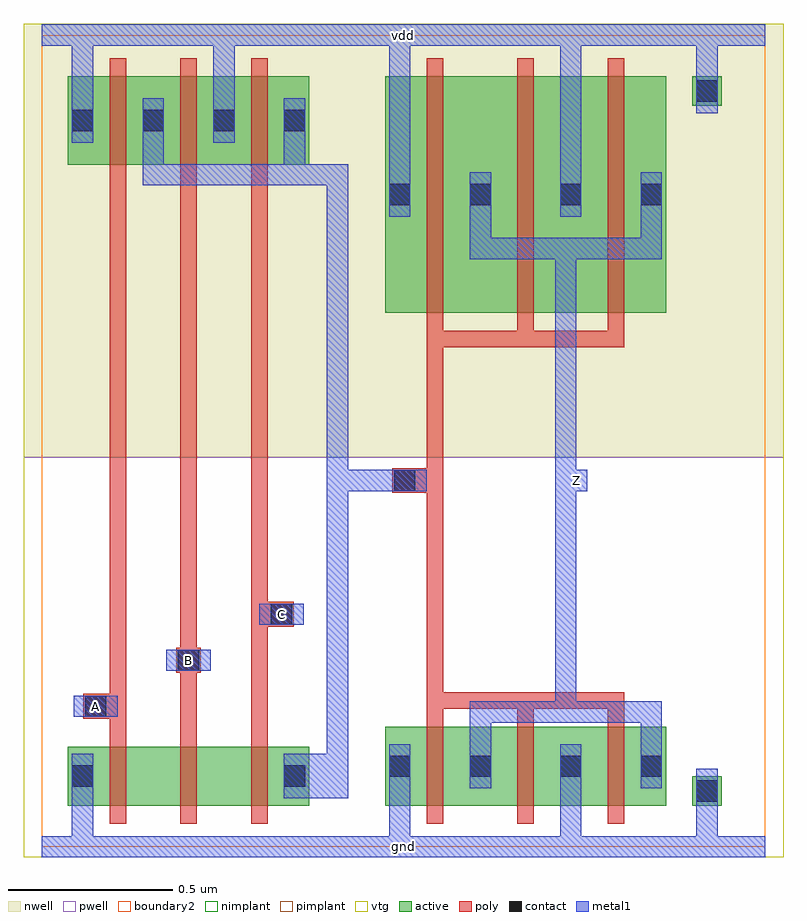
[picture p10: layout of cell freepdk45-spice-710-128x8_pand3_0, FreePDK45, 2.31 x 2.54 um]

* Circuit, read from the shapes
.subckt freepdk45-spice-710-128x8_pand3_0 A B C Z gnd vdd
M1 freepdk45-spice-710-128x8_pnand3_0_0/freepdk45-spice-710-128x8_nmos_m1_w0_180_sm1_dactive_3/D A gnd gnd nfet w=0.18u l=0.05u
M2 freepdk45-spice-710-128x8_pnand3_0_0/freepdk45-spice-710-128x8_nmos_m1_w0_180_sactive_dactive_4/D B freepdk45-spice-710-128x8_pnand3_0_0/freepdk45-spice-710-128x8_nmos_m1_w0_180_sm1_dactive_3/D gnd nfet w=0.18u l=0.05u
M3 freepdk45-spice-710-128x8_pdriver_4_1/A C freepdk45-spice-710-128x8_pnand3_0_0/freepdk45-spice-710-128x8_nmos_m1_w0_180_sactive_dactive_4/D gnd nfet w=0.18u l=0.05u
M4 Z freepdk45-spice-710-128x8_pdriver_4_1/A gnd gnd nfet w=0.24u l=0.05u m=3
M5 freepdk45-spice-710-128x8_pdriver_4_1/A A vdd vdd pfet w=0.27u l=0.05u
M6 vdd B freepdk45-spice-710-128x8_pdriver_4_1/A vdd pfet w=0.27u l=0.05u
M7 freepdk45-spice-710-128x8_pdriver_4_1/A C vdd vdd pfet w=0.27u l=0.05u
M8 Z freepdk45-spice-710-128x8_pdriver_4_1/A vdd vdd pfet w=0.72u l=0.05u m=3
.ends

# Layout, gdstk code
import gdstk
lib = gdstk.Library(unit=1e-6, precision=5e-10)
def R(c, l, rs):  # rectangles x0, y0, x1, y1
    for r in rs: c.add(gdstk.rectangle(r[:2], r[2:], *l))
def A(c, l, x, y, w, h, nx, ny, dx, dy):  # array of equal rectangles
    R(c, l, [(x+i*dx, y+j*dy, x+i*dx+w, y+j*dy+h) for i in range(nx) for j in range(ny)])
active = (1, 0)
pwell = (2, 0)
nwell = (3, 0)
nimplant = (4, 0)
pimplant = (5, 0)
vtg = (6, 0)
poly = (9, 0)
contact = (10, 0)
metal1 = (11, 0)
boundary2 = (239, 0)

freepdk45_spice_710_128x = lib.new_cell('freepdk45-spice-710-128x8_contact_11')
R(freepdk45_spice_710_128x, active, [(0,0.0225,0.09,0.1125)])
R(freepdk45_spice_710_128x, nwell, [(-0.055,-0.0325,0.145,0.1675)])
R(freepdk45_spice_710_128x, pimplant, [(0,0.0225,0.09,0.1125)])
R(freepdk45_spice_710_128x, contact, [(0.0125,0.035,0.0775,0.1)])
R(freepdk45_spice_710_128x, metal1, [(0.0125,0,0.0775,0.135)])
R(freepdk45_spice_710_128x, boundary2, [(-0.055,-0.0325,0.145,0.1675)])

c_freepdk45_spice_710_128x = lib.new_cell('freepdk45-spice-710-128x8_pmos_m1_w0_270_sm1_dm1')
R(c_freepdk45_spice_710_128x, active, [(0,0,0.305,0.27)])
R(c_freepdk45_spice_710_128x, nwell, [(-0.08,-0.08,0.385,0.35)])
R(c_freepdk45_spice_710_128x, pimplant, [(0,0,0.305,0.27)])
R(c_freepdk45_spice_710_128x, vtg, [(-0.08,-0.08,0.385,0.35)])
R(c_freepdk45_spice_710_128x, poly, [(0.1275,-0.055,0.1775,0.325), (0.1275,-0.055,0.1775,0.325)])
R(c_freepdk45_spice_710_128x, metal1, [(0.0125,0.0675,0.0775,0.2025), (0.2275,0.0675,0.2925,0.2025)])
R(c_freepdk45_spice_710_128x, boundary2, [(-0.08,-0.08,0.385,0.35)])
c_freepdk45_spice_710_128x.add(gdstk.Reference(freepdk45_spice_710_128x, (0,0.0675)))
c_freepdk45_spice_710_128x.add(gdstk.Reference(freepdk45_spice_710_128x, (0.215,0.0675)))
c_freepdk45_spice_710_128x.add(gdstk.Label('G', (0.1525,0.135), layer=9, texttype=0))
c_freepdk45_spice_710_128x.add(gdstk.Label('S', (0.045,0.135), layer=11, texttype=0))
c_freepdk45_spice_710_128x.add(gdstk.Label('D', (0.26,0.135), layer=11, texttype=0))

c_freepdk45_spice_710_128x_ = lib.new_cell('freepdk45-spice-710-128x8_contact_10')
R(c_freepdk45_spice_710_128x_, active, [(0,0.0225,0.09,0.1125)])
R(c_freepdk45_spice_710_128x_, pwell, [(-0.055,-0.0325,0.145,0.1675)])
R(c_freepdk45_spice_710_128x_, nimplant, [(0,0.0225,0.09,0.1125)])
R(c_freepdk45_spice_710_128x_, contact, [(0.0125,0.035,0.0775,0.1)])
R(c_freepdk45_spice_710_128x_, metal1, [(0.0125,0,0.0775,0.135)])
R(c_freepdk45_spice_710_128x_, boundary2, [(-0.055,-0.0325,0.145,0.1675)])

c_freepdk45_spice_710_128x__ = lib.new_cell('freepdk45-spice-710-128x8_nmos_m1_w0_180_sm1_dactive')
R(c_freepdk45_spice_710_128x__, active, [(0,0,0.305,0.18), (0.215,0.045,0.305,0.135)])
R(c_freepdk45_spice_710_128x__, pwell, [(-0.08,-0.08,0.385,0.26)])
R(c_freepdk45_spice_710_128x__, nimplant, [(0,0,0.305,0.18)])
R(c_freepdk45_spice_710_128x__, vtg, [(-0.08,-0.08,0.385,0.26)])
R(c_freepdk45_spice_710_128x__, poly, [(0.1275,-0.055,0.1775,0.235), (0.1275,-0.055,0.1775,0.235)])
R(c_freepdk45_spice_710_128x__, metal1, [(0.0125,0.0225,0.0775,0.1575)])
R(c_freepdk45_spice_710_128x__, boundary2, [(-0.08,-0.08,0.385,0.26)])
c_freepdk45_spice_710_128x__.add(gdstk.Reference(c_freepdk45_spice_710_128x_, (0,0.0225)))
c_freepdk45_spice_710_128x__.add(gdstk.Label('G', (0.1525,0.09), layer=9, texttype=0))
c_freepdk45_spice_710_128x__.add(gdstk.Label('S', (0.045,0.09), layer=11, texttype=0))
c_freepdk45_spice_710_128x__.add(gdstk.Label('D', (0.26,0.09), layer=1, texttype=0))

c_freepdk45_spice_710_128x___ = lib.new_cell('freepdk45-spice-710-128x8_nmos_m1_w0_180_sactive_dactive')
R(c_freepdk45_spice_710_128x___, active, [(0,0,0.305,0.18), (0,0.045,0.09,0.135), (0.215,0.045,0.305,0.135)])
R(c_freepdk45_spice_710_128x___, pwell, [(-0.08,-0.08,0.385,0.26)])
R(c_freepdk45_spice_710_128x___, nimplant, [(0,0,0.305,0.18)])
R(c_freepdk45_spice_710_128x___, vtg, [(-0.08,-0.08,0.385,0.26)])
R(c_freepdk45_spice_710_128x___, poly, [(0.1275,-0.055,0.1775,0.235), (0.1275,-0.055,0.1775,0.235)])
R(c_freepdk45_spice_710_128x___, boundary2, [(-0.08,-0.08,0.385,0.26)])
c_freepdk45_spice_710_128x___.add(gdstk.Label('G', (0.1525,0.09), layer=9, texttype=0))
c_freepdk45_spice_710_128x___.add(gdstk.Label('S', (0.045,0.09), layer=1, texttype=0))
c_freepdk45_spice_710_128x___.add(gdstk.Label('D', (0.26,0.09), layer=1, texttype=0))

c_freepdk45_spice_710_128x____ = lib.new_cell('freepdk45-spice-710-128x8_nmos_m1_w0_180_sactive_dm1')
R(c_freepdk45_spice_710_128x____, active, [(0,0,0.305,0.18), (0,0.045,0.09,0.135)])
R(c_freepdk45_spice_710_128x____, pwell, [(-0.08,-0.08,0.385,0.26)])
R(c_freepdk45_spice_710_128x____, nimplant, [(0,0,0.305,0.18)])
R(c_freepdk45_spice_710_128x____, vtg, [(-0.08,-0.08,0.385,0.26)])
R(c_freepdk45_spice_710_128x____, poly, [(0.1275,-0.055,0.1775,0.235), (0.1275,-0.055,0.1775,0.235)])
R(c_freepdk45_spice_710_128x____, metal1, [(0.2275,0.0225,0.2925,0.1575)])
R(c_freepdk45_spice_710_128x____, boundary2, [(-0.08,-0.08,0.385,0.26)])
c_freepdk45_spice_710_128x____.add(gdstk.Reference(c_freepdk45_spice_710_128x_, (0.215,0.0225)))
c_freepdk45_spice_710_128x____.add(gdstk.Label('G', (0.1525,0.09), layer=9, texttype=0))
c_freepdk45_spice_710_128x____.add(gdstk.Label('S', (0.045,0.09), layer=1, texttype=0))
c_freepdk45_spice_710_128x____.add(gdstk.Label('D', (0.26,0.09), layer=11, texttype=0))

c_freepdk45_spice_710_128x_____ = lib.new_cell('freepdk45-spice-710-128x8_contact_14')
R(c_freepdk45_spice_710_128x_____, poly, [(0.03,0,0.105,0.075)])
R(c_freepdk45_spice_710_128x_____, contact, [(0.035,0.005,0.1,0.07)])
R(c_freepdk45_spice_710_128x_____, metal1, [(0,0.005,0.135,0.07)])
R(c_freepdk45_spice_710_128x_____, boundary2, [(0,0,0.135,0.075)])

c_freepdk45_spice_710_128x______ = lib.new_cell('freepdk45-spice-710-128x8_pnand3_0')
R(c_freepdk45_spice_710_128x______, pwell, [(-0.055,-0.0325,1.02,1.185)])
R(c_freepdk45_spice_710_128x______, nwell, [(-0.055,1.185,1.02,2.505)])
R(c_freepdk45_spice_710_128x______, vtg, [(-0.055,-0.0325,1.02,1.185), (-0.055,1.185,1.02,2.505)])
A(c_freepdk45_spice_710_128x______, poly, 0.2075, 0.36, 0.05, 1.66, 3, 1, 0.215, 0)
R(c_freepdk45_spice_710_128x______, poly, [(0.165,0.39,0.2075,0.465), (0.4225,0.53,0.4475,0.605), (0.6375,0.67,0.73,0.745)])
R(c_freepdk45_spice_710_128x______, metal1, [(0,-0.0325,0.965,0.0325), (0.0925,-0.0325,0.1575,0.1475), (0.77,0.1475,0.9,0.2825), (0.8675,0.1475,0.9325,2.045), (0.0975,0.395,0.2325,0.46), (0.38,0.535,0.515,0.6), (0.6625,0.675,0.7975,0.74), (0.3075,2.0125,0.3725,2.0775), (0.34,2.0125,0.9,2.0775), (0.7375,2.0125,0.8025,2.0775), (0.77,2.0125,0.9,2.0775), (0.8675,2.0125,0.9325,2.0775), (0.3075,2.045,0.3725,2.21), (0.7375,2.045,0.8025,2.21), (0.0925,2.1425,0.1575,2.5025), (0.5225,2.1425,0.5875,2.5025), (0,2.4375,0.965,2.5025)])
R(c_freepdk45_spice_710_128x______, boundary2, [(0,0,0.965,2.47), (0,0,0.965,2.47)])
c_freepdk45_spice_710_128x______.add(gdstk.Reference(c_freepdk45_spice_710_128x, (0.08,2.075)))
c_freepdk45_spice_710_128x______.add(gdstk.Reference(c_freepdk45_spice_710_128x, (0.295,2.075)))
c_freepdk45_spice_710_128x______.add(gdstk.Reference(c_freepdk45_spice_710_128x, (0.51,2.075)))
c_freepdk45_spice_710_128x______.add(gdstk.Reference(c_freepdk45_spice_710_128x__, (0.08,0.125)))
c_freepdk45_spice_710_128x______.add(gdstk.Reference(c_freepdk45_spice_710_128x___, (0.295,0.125)))
c_freepdk45_spice_710_128x______.add(gdstk.Reference(c_freepdk45_spice_710_128x____, (0.51,0.125)))
c_freepdk45_spice_710_128x______.add(gdstk.Reference(c_freepdk45_spice_710_128x_____, (0.0975,0.39)))
c_freepdk45_spice_710_128x______.add(gdstk.Reference(c_freepdk45_spice_710_128x_____, (0.38,0.53)))
c_freepdk45_spice_710_128x______.add(gdstk.Reference(c_freepdk45_spice_710_128x_____, (0.6625,0.67)))
c_freepdk45_spice_710_128x______.add(gdstk.Label('A', (0.165,0.4275), layer=11, texttype=0))
c_freepdk45_spice_710_128x______.add(gdstk.Label('B', (0.4475,0.5675), layer=11, texttype=0))
c_freepdk45_spice_710_128x______.add(gdstk.Label('C', (0.73,0.7075), layer=11, texttype=0))
c_freepdk45_spice_710_128x______.add(gdstk.Label('Z', (0.9,2.045), layer=11, texttype=0))
c_freepdk45_spice_710_128x______.add(gdstk.Label('gnd', (0.4825,0), layer=11, texttype=0))
c_freepdk45_spice_710_128x______.add(gdstk.Label('vdd', (0.4825,2.47), layer=11, texttype=0))

c_freepdk45_spice_710_128x_______ = lib.new_cell('freepdk45-spice-710-128x8_pmos_m3_w0_720_sm1_dm1_da_p')
R(c_freepdk45_spice_710_128x_______, active, [(0,0,0.855,0.72)])
R(c_freepdk45_spice_710_128x_______, nwell, [(-0.08,-0.08,0.935,0.8)])
R(c_freepdk45_spice_710_128x_______, pimplant, [(0,0,0.855,0.72)])
R(c_freepdk45_spice_710_128x_______, vtg, [(-0.08,-0.08,0.935,0.8)])
A(c_freepdk45_spice_710_128x_______, poly, 0.1275, -0.055, 0.05, 0.83, 3, 1, 0.275, 0)
R(c_freepdk45_spice_710_128x_______, poly, [(0.1275,-0.105,0.7275,-0.055)])
R(c_freepdk45_spice_710_128x_______, metal1, [(0.2575,0.1625,0.8425,0.2275), (0.2575,0.195,0.3225,0.36), (0.7775,0.195,0.8425,0.36), (0.0125,0.2925,0.0775,0.4275), (0.5325,0.2925,0.5975,0.4275)])
R(c_freepdk45_spice_710_128x_______, boundary2, [(-0.08,-0.105,0.935,0.8)])
c_freepdk45_spice_710_128x_______.add(gdstk.Reference(freepdk45_spice_710_128x, (0,0.2925)))
c_freepdk45_spice_710_128x_______.add(gdstk.Reference(freepdk45_spice_710_128x, (0.245,0.2925)))
c_freepdk45_spice_710_128x_______.add(gdstk.Reference(freepdk45_spice_710_128x, (0.52,0.2925)))
c_freepdk45_spice_710_128x_______.add(gdstk.Reference(freepdk45_spice_710_128x, (0.765,0.2925)))
c_freepdk45_spice_710_128x_______.add(gdstk.Label('G', (0.4275,-0.08), layer=9, texttype=0))
c_freepdk45_spice_710_128x_______.add(gdstk.Label('S', (0.565,0.36), layer=11, texttype=0))
c_freepdk45_spice_710_128x_______.add(gdstk.Label('S', (0.045,0.36), layer=11, texttype=0))
c_freepdk45_spice_710_128x_______.add(gdstk.Label('D', (0.55,0.195), layer=11, texttype=0))

c_freepdk45_spice_710_128x________ = lib.new_cell('freepdk45-spice-710-128x8_nmos_m3_w0_240_sm1_dm1_da_p')
R(c_freepdk45_spice_710_128x________, active, [(0,0,0.855,0.24)])
R(c_freepdk45_spice_710_128x________, pwell, [(-0.08,-0.08,0.935,0.32)])
R(c_freepdk45_spice_710_128x________, nimplant, [(0,0,0.855,0.24)])
R(c_freepdk45_spice_710_128x________, vtg, [(-0.08,-0.08,0.935,0.32)])
A(c_freepdk45_spice_710_128x________, poly, 0.1275, -0.055, 0.05, 0.35, 3, 1, 0.275, 0)
R(c_freepdk45_spice_710_128x________, poly, [(0.1275,0.295,0.7275,0.345)])
R(c_freepdk45_spice_710_128x________, metal1, [(0.0125,0.0525,0.0775,0.1875), (0.5325,0.0525,0.5975,0.1875), (0.2575,0.12,0.3225,0.285), (0.7775,0.12,0.8425,0.285), (0.2575,0.2525,0.8425,0.3175)])
R(c_freepdk45_spice_710_128x________, boundary2, [(-0.08,-0.08,0.935,0.345)])
c_freepdk45_spice_710_128x________.add(gdstk.Reference(c_freepdk45_spice_710_128x_, (0,0.0525)))
c_freepdk45_spice_710_128x________.add(gdstk.Reference(c_freepdk45_spice_710_128x_, (0.245,0.0525)))
c_freepdk45_spice_710_128x________.add(gdstk.Reference(c_freepdk45_spice_710_128x_, (0.52,0.0525)))
c_freepdk45_spice_710_128x________.add(gdstk.Reference(c_freepdk45_spice_710_128x_, (0.765,0.0525)))
c_freepdk45_spice_710_128x________.add(gdstk.Label('G', (0.4275,0.32), layer=9, texttype=0))
c_freepdk45_spice_710_128x________.add(gdstk.Label('S', (0.045,0.12), layer=11, texttype=0))
c_freepdk45_spice_710_128x________.add(gdstk.Label('S', (0.565,0.12), layer=11, texttype=0))
c_freepdk45_spice_710_128x________.add(gdstk.Label('D', (0.55,0.285), layer=11, texttype=0))

c_freepdk45_spice_710_128x_________ = lib.new_cell('freepdk45-spice-710-128x8_contact_12')
R(c_freepdk45_spice_710_128x_________, active, [(0,0.0225,0.09,0.1125)])
R(c_freepdk45_spice_710_128x_________, nwell, [(-0.055,-0.0325,0.145,0.1675)])
R(c_freepdk45_spice_710_128x_________, nimplant, [(0,0.0225,0.09,0.1125)])
R(c_freepdk45_spice_710_128x_________, contact, [(0.0125,0.035,0.0775,0.1)])
R(c_freepdk45_spice_710_128x_________, metal1, [(0.0125,0,0.0775,0.135)])
R(c_freepdk45_spice_710_128x_________, boundary2, [(-0.055,-0.0325,0.145,0.1675)])

c_freepdk45_spice_710_128x__________ = lib.new_cell('freepdk45-spice-710-128x8_contact_13')
R(c_freepdk45_spice_710_128x__________, active, [(0,0.0225,0.09,0.1125)])
R(c_freepdk45_spice_710_128x__________, pwell, [(-0.055,-0.0325,0.145,0.1675)])
R(c_freepdk45_spice_710_128x__________, pimplant, [(0,0.0225,0.09,0.1125)])
R(c_freepdk45_spice_710_128x__________, contact, [(0.0125,0.035,0.0775,0.1)])
R(c_freepdk45_spice_710_128x__________, metal1, [(0.0125,0,0.0775,0.135)])
R(c_freepdk45_spice_710_128x__________, boundary2, [(-0.055,-0.0325,0.145,0.1675)])

c_freepdk45_spice_710_128x___________ = lib.new_cell('freepdk45-spice-710-128x8_pinv_14')
R(c_freepdk45_spice_710_128x___________, pwell, [(-0.055,-0.0325,1.2925,1.185)])
R(c_freepdk45_spice_710_128x___________, nwell, [(-0.055,1.185,1.2925,2.505)])
R(c_freepdk45_spice_710_128x___________, vtg, [(-0.055,-0.0325,1.2925,1.185), (-0.055,1.185,1.2925,2.505)])
R(c_freepdk45_spice_710_128x___________, poly, [(0.2075,0.47,0.2575,1.52), (0.14,1.0775,0.2075,1.1525)])
R(c_freepdk45_spice_710_128x___________, metal1, [(0,-0.0325,1.2375,0.0325), (0.0925,-0.0325,0.1575,0.1775), (0.6125,-0.0325,0.6775,0.1775), (1.0275,0,1.0925,0.17), (0.5975,0.3775,0.6625,1.8525), (0.0725,1.0825,0.2075,1.1475), (0.63,1.0825,0.695,1.1475), (0.0925,1.9175,0.1575,2.5025), (0.6125,1.9175,0.6775,2.5025), (1.0275,2.3,1.0925,2.47), (0,2.4375,1.2375,2.5025)])
R(c_freepdk45_spice_710_128x___________, boundary2, [(0,0,1.2375,2.47), (0,0,1.2375,2.47)])
c_freepdk45_spice_710_128x___________.add(gdstk.Reference(c_freepdk45_spice_710_128x_______, (0.08,1.625)))
c_freepdk45_spice_710_128x___________.add(gdstk.Reference(c_freepdk45_spice_710_128x________, (0.08,0.125)))
c_freepdk45_spice_710_128x___________.add(gdstk.Reference(c_freepdk45_spice_710_128x_________, (1.015,2.2325)))
c_freepdk45_spice_710_128x___________.add(gdstk.Reference(c_freepdk45_spice_710_128x__________, (1.015,0.1025)))
c_freepdk45_spice_710_128x___________.add(gdstk.Reference(c_freepdk45_spice_710_128x_____, (0.0725,1.0775)))
c_freepdk45_spice_710_128x___________.add(gdstk.Label('A', (0.14,1.115), layer=11, texttype=0))
c_freepdk45_spice_710_128x___________.add(gdstk.Label('Z', (0.6625,1.115), layer=11, texttype=0))
c_freepdk45_spice_710_128x___________.add(gdstk.Label('gnd', (0.619,0), layer=11, texttype=0))
c_freepdk45_spice_710_128x___________.add(gdstk.Label('vdd', (0.619,2.47), layer=11, texttype=0))

c_freepdk45_spice_710_128x____________ = lib.new_cell('freepdk45-spice-710-128x8_pdriver_4')
R(c_freepdk45_spice_710_128x____________, pwell, [(-0.055,-0.0325,1.2925,1.185)])
R(c_freepdk45_spice_710_128x____________, nwell, [(-0.055,1.185,1.2925,2.505)])
R(c_freepdk45_spice_710_128x____________, vtg, [(-0.055,-0.0325,1.2925,1.185), (-0.055,1.185,1.2925,2.505)])
R(c_freepdk45_spice_710_128x____________, metal1, [(0,-0.0325,1.2375,0.0325), (0.0725,1.0825,0.2075,1.1475), (0.63,1.0825,0.695,1.1475), (0,2.4375,1.2375,2.5025)])
R(c_freepdk45_spice_710_128x____________, boundary2, [(0,0,1.2375,2.47), (0,0,1.2375,2.47)])
c_freepdk45_spice_710_128x____________.add(gdstk.Reference(c_freepdk45_spice_710_128x___________, (0,0)))
c_freepdk45_spice_710_128x____________.add(gdstk.Label('Z', (0.6625,1.115), layer=11, texttype=0))
c_freepdk45_spice_710_128x____________.add(gdstk.Label('A', (0.14,1.115), layer=11, texttype=0))
c_freepdk45_spice_710_128x____________.add(gdstk.Label('gnd', (0.619,0), layer=11, texttype=0))
c_freepdk45_spice_710_128x____________.add(gdstk.Label('vdd', (0.619,2.47), layer=11, texttype=0))

c_freepdk45_spice_710_128x_____________ = lib.new_cell('freepdk45-spice-710-128x8_pand3_0')
R(c_freepdk45_spice_710_128x_____________, metal1, [(0,-0.0325,2.2025,0.0325), (0.0975,0.395,0.2325,0.46), (0.38,0.535,0.515,0.6), (0.6625,0.675,0.7975,0.74), (0.8675,1.0825,0.9325,1.1475), (0.9,1.0825,1.105,1.1475), (1.595,1.0825,1.66,1.1475), (0.8675,1.115,0.9325,2.045), (0,2.4375,2.2025,2.5025)])
R(c_freepdk45_spice_710_128x_____________, boundary2, [(0,0,2.2025,2.47), (0,0,2.2025,2.47)])
c_freepdk45_spice_710_128x_____________.add(gdstk.Reference(c_freepdk45_spice_710_128x______, (0,0)))
c_freepdk45_spice_710_128x_____________.add(gdstk.Reference(c_freepdk45_spice_710_128x____________, (0.965,0)))
c_freepdk45_spice_710_128x_____________.add(gdstk.Label('Z', (1.6275,1.115), layer=11, texttype=0))
c_freepdk45_spice_710_128x_____________.add(gdstk.Label('A', (0.165,0.4275), layer=11, texttype=0))
c_freepdk45_spice_710_128x_____________.add(gdstk.Label('B', (0.4475,0.5675), layer=11, texttype=0))
c_freepdk45_spice_710_128x_____________.add(gdstk.Label('C', (0.73,0.7075), layer=11, texttype=0))
c_freepdk45_spice_710_128x_____________.add(gdstk.Label('gnd', (1.101,0), layer=11, texttype=0))
c_freepdk45_spice_710_128x_____________.add(gdstk.Label('vdd', (1.101,2.47), layer=11, texttype=0))

lib.write_gds('freepdk45-spice-710-128x8_pand3_0.gds')
